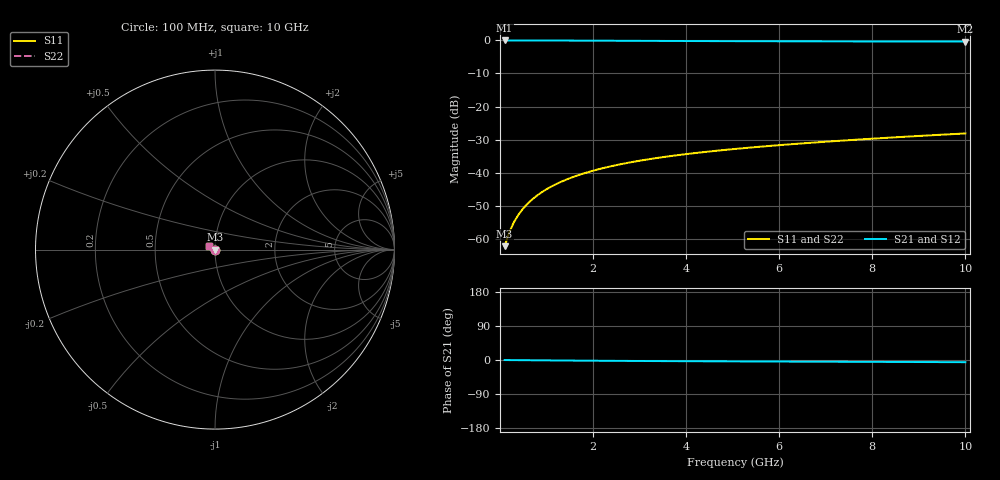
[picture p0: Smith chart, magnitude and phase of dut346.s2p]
! Touchstone file exported from HFSS 2024.1.0
!  File:  C:/UserFiles/LocalFiles/RDL_TSV_Batchsim/temp_TSV1_346_1779619532.aedt
!  Generated:  06:53:42 PM May 24, 2026
!  Design:  TSV1
!  Project:  temp_TSV1_346_1779619532
!  Setup:  Setup1
!  Solution:  Sweep
! Variables:
!  dtsv = 5.24um
!  hbump = 3um
!  htsv = 86.63um
!  lrdl = 252.1521522um
!  p = 40
!  p1 = 45.26um
!  t = 500um
!  trdl = 3um
!  wrdl = 24.89489489um
# GHz S MA R 50.000000
! Terminal data exported
! Port[1] = TSV22_T1
! Port[2] = TSV22_T2
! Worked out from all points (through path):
!   100 points, 100 MHz to 10 GHz, reference 50 ohm
!   highest |S21| = 0.00 dB at 100 MHz (marker M1); lowest = -0.3 dB at 10 GHz (marker M2)
!   lowest |S11| = -62.3 dB at 100 MHz (marker M3), VSWR 1.00, Z = 50.1 - j0.0573 ohm
!   |S11| at or under -10 dB: start of sweep to end of sweep
!   |S22| runs from -62.3 to -28.2 dB; largest |S21 - S12| = 3e-15
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0.1  0.0007691 -48.1  0.9994 -0.1  0.9994 -0.1  0.0007691 -48.1
! Gamma 0 0 0 0
! Port Impedance 50 0 50 0
0.2  0.001245 -68.5  0.9994 -0.2  0.9994 -0.2  0.001245 -68.5
0.3  0.001774 -78.6  0.9992 -0.3  0.9992 -0.3  0.001774 -78.6
0.4  0.002318 -85.0  0.9991 -0.4  0.9991 -0.4  0.002318 -85.0
0.5  0.002867 -89.8  0.9989 -0.5  0.9989 -0.5  0.002867 -89.8
0.6  0.003416 -93.7  0.9987 -0.6  0.9987 -0.6  0.003416 -93.7
0.7  0.003965 -97.1  0.9984 -0.7  0.9984 -0.7  0.003965 -97.1
0.8  0.004511 -100.2  0.9981 -0.8  0.9981 -0.8  0.004511 -100.2
0.9  0.005053 -103.0  0.9977 -0.9  0.9977 -0.9  0.005053 -103.0
1.1  0.006126 -108.3  0.9969 -1.1  0.9969 -1.1  0.006126 -108.3
1.4  0.007695 -115.4  0.9955 -1.4  0.9955 -1.4  0.007695 -115.4
1.6  0.008712 -119.9  0.9945 -1.6  0.9945 -1.6  0.008712 -119.9
1.8  0.009703 -124.1  0.9934 -1.7  0.9934 -1.7  0.009703 -124.1
2.1  0.01114 -130.1  0.9916 -2.0  0.9916 -2.0  0.01114 -130.1
2.5  0.01297 -137.7  0.9891 -2.3  0.9891 -2.3  0.01297 -137.7
2.9  0.01469 -144.7  0.9866 -2.5  0.9866 -2.5  0.01469 -144.7
3.4  0.01673 -152.7  0.9836 -2.8  0.9836 -2.8  0.01673 -152.7
4.2  0.01977 -164.2  0.9791 -3.3  0.9791 -3.3  0.01977 -164.2
5.1  0.02295 -175.2  0.9749 -3.7  0.9749 -3.7  0.02295 -175.2
6.7  0.02832 168.9  0.969 -4.4  0.969 -4.4  0.02832 168.9
8.4  0.03387 156.0  0.9646 -5.1  0.9646 -5.1  0.03387 156.0
10  0.03909 146.5  0.9616 -5.8  0.9616 -5.8  0.03909 146.5
